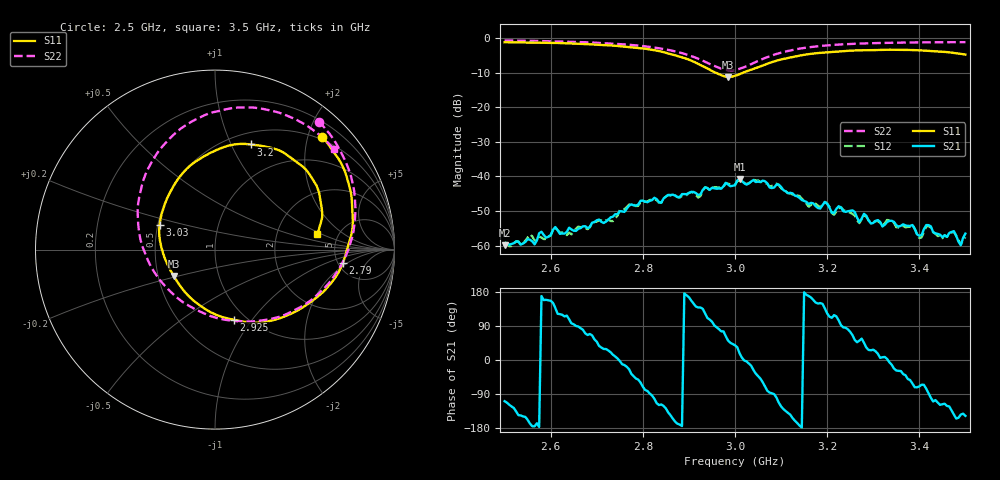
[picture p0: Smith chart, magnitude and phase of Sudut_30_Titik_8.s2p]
# Hz S RI R 50
! CMT, C1220, 16058040, 17.2.0/1
! Date: 15/08/2018 09:54:01
! Data: Format (Calibration Info)
! Freq  S11: Re/Im (F2)  S21: Re/Im (F2)  S12: Re/Im (F2)  S22: Re/Im (F2)
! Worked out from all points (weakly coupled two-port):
!   201 points, 2.5 GHz to 3.5 GHz, reference 50 ohm
!   highest |S21| = -40.73 dB at 3.01 GHz (marker M1); lowest = -59.9 dB at 2.5 GHz (marker M2)
!   lowest |S11| = -11.3 dB at 2.985 GHz (marker M3), VSWR 1.75, Z = 30.1 - j9.57 ohm
!   |S11| at or under -10 dB: 2.957 GHz to 3.019 GHz (61.42 MHz wide, 2.06 % of centre)
!   |S22| runs from -9.3 to -0.7 dB; largest |S21 - S12| = 0.0007
!   S11 on the Smith chart (normalised r, x): 2.5 GHz: 0.45, +2.26; 2.79 GHz: 5.48, -1.72; 2.925 GHz: 0.88, -0.82; 3.03 GHz: 0.51, +0.16; 3.2 GHz: 0.63, +1.19; 3.5 GHz: 3.45, +0.91
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2.5e9  0.5988 0.6262  -0.000326 -0.000957  -0.00032 -0.00107  0.5791 0.7129
2.67e9  0.7589 0.3065  0.000339 0.00187  0.000481 0.00176  0.7481 0.4386
2.79e9  0.7115 -0.0765  0.00242 -0.00309  0.00219 -0.00306  0.7703 0.0909
2.835e9  0.5996 -0.2386  -0.00206 -0.00374  -0.00196 -0.00368  0.7051 -0.083
2.925e9  0.1034 -0.3903  -0.00414 0.00365  -0.00408 0.00321  0.2857 -0.391
2.985e9  -0.2302 -0.1469  0.00478 0.00595  0.00465 0.00634  -0.1786 -0.2932
3e9  -0.279 -0.0505  0.00581 0.00466  0.00614 0.00438  -0.2761 -0.2054
3.01e9  -0.299 0.0139  0.00878 0.00274  0.00849 0.00258  -0.331 -0.1361
3.03e9  -0.3089 0.1373  0.00783 -0.00128  0.00783 -0.0014  -0.4036 0.0147
3.1e9  -0.1389 0.4674  -0.00378 -0.00595  -0.00382 -0.00559  -0.3403 0.5088
3.17e9  0.1055 0.5853  -0.00378 0.00152  -0.00393 0.00129  -0.0717 0.7425
3.2e9  0.1985 0.5857  -0.0022 0.00337  -0.00207 0.00353  0.0413 0.7773
3.27e9  0.3836 0.5392  0.00139 0.00172  0.00128 0.00169  0.2632 0.7846
3.28e9  0.4044 0.5249  0.00203 0.00205  0.00192 0.00195  0.2902 0.7793
3.335e9  0.5088 0.4433  0.00227 -0.000236  0.00229 -0.000398  0.4163 0.7407
3.385e9  0.5669 0.3533  0.000938 -0.00176  0.000905 -0.00177  0.5098 0.6928
3.4e9  0.5769 0.3251  0.00048 -0.0013  0.000301 -0.00125  0.533 0.6757
3.415e9  0.5848 0.29  0.000484 -0.00192  0.000438 -0.00184  0.557 0.6588
3.45e9  0.5973 0.2044  -0.000599 -0.00119  -0.000566 -0.00115  0.6058 0.6184
3.475e9  0.5885 0.148  -0.0013 -0.00097  -0.00124 -0.000968  0.6349 0.589
3.49e9  0.5785 0.1113  -0.000821 -0.000597  -0.00087 -0.000561  0.6529 0.5702
3.5e9  0.5687 0.0881  -0.00126 -0.000804  -0.00118 -0.000612  0.6639 0.5583
